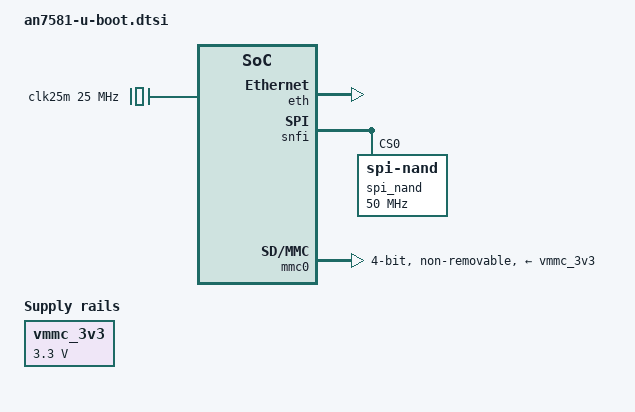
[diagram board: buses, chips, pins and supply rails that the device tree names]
// SPDX-License-Identifier: GPL-2.0+

#include <dt-bindings/reset/airoha,en7581-reset.h>

/ {
	reserved-memory {
		#address-cells = <2>;
		#size-cells = <2>;
		ranges;

		atf-reserved-memory@80000000 {
			no-map;
			reg = <0x0 0x80000000 0x0 0x40000>;
		};
	};

	clk25m: oscillator {
		compatible = "fixed-clock";
		#clock-cells = <0>;
		clock-frequency = <25000000>;
		clock-output-names = "clkxtal";
	};

	vmmc_3v3: regulator-vmmc-3v3 {
		compatible = "regulator-fixed";
		regulator-name = "vmmc";
		regulator-min-microvolt = <3300000>;
		regulator-max-microvolt = <3300000>;
		regulator-always-on;
	};

	soc {
		chip_scu: syscon@1fa20000 {
			compatible = "airoha,en7581-chip-scu", "syscon";
			reg = <0x0 0x1fa20000 0x0 0x388>;
		};

		eth: ethernet@1fb50000 {
			compatible = "airoha,en7581-eth";
			reg = <0 0x1fb50000 0 0x2600>,
				<0 0x1fb54000 0 0x2000>,
				<0 0x1fb56000 0 0x2000>;
			reg-names = "fe", "qdma0", "qdma1";

			resets = <&scuclk EN7581_FE_RST>,
				 <&scuclk EN7581_FE_PDMA_RST>,
				 <&scuclk EN7581_FE_QDMA_RST>,
				 <&scuclk EN7581_DUAL_HSI0_MAC_RST>,
				 <&scuclk EN7581_DUAL_HSI1_MAC_RST>,
				 <&scuclk EN7581_HSI_MAC_RST>,
				 <&scuclk EN7581_XFP_MAC_RST>;
			reset-names = "fe", "pdma", "qdma",
				      "hsi0-mac", "hsi1-mac", "hsi-mac",
				      "xfp-mac";
		};

		switch: switch@1fb58000 {
			compatible = "airoha,en7581-switch";
			reg = <0 0x1fb58000 0 0x8000>;
		};

		snfi: spi@1fa10000 {
			compatible = "airoha,en7581-snand";
			reg = <0x0 0x1fa10000 0x0 0x140>,
			      <0x0 0x1fa11000 0x0 0x600>;

			clocks = <&scuclk EN7523_CLK_SPI>;
			clock-names = "spi";

			#address-cells = <1>;
			#size-cells = <0>;

			spi_nand: nand@0 {
				compatible = "spi-nand";
				reg = <0>;
				spi-max-frequency = <50000000>;
				spi-tx-bus-width = <1>;
				spi-rx-bus-width = <2>;
			};
		};

		mmc0: mmc@1fa0e000 {
			compatible = "mediatek,mt7622-mmc";
			reg = <0x0 0x1fa0e000 0x0 0x1000>,
				<0x0 0x1fa0c000 0x0 0x60>;
			interrupts = <GIC_SPI 170 IRQ_TYPE_LEVEL_HIGH>;
			clocks = <&scuclk EN7581_CLK_EMMC>, <&clk25m>;
			clock-names = "source", "hclk";
			bus-width = <4>;
			max-frequency = <52000000>;
			vmmc-supply = <&vmmc_3v3>;
			disable-wp;
			cap-mmc-highspeed;
			non-removable;

			assigned-clocks = <&scuclk EN7581_CLK_EMMC>;
			assigned-clock-rates = <200000000>;
		};
	};
};

&scuclk {
	compatible = "airoha,en7581-scu", "syscon";
};

&uart1 {
	bootph-all;
};
